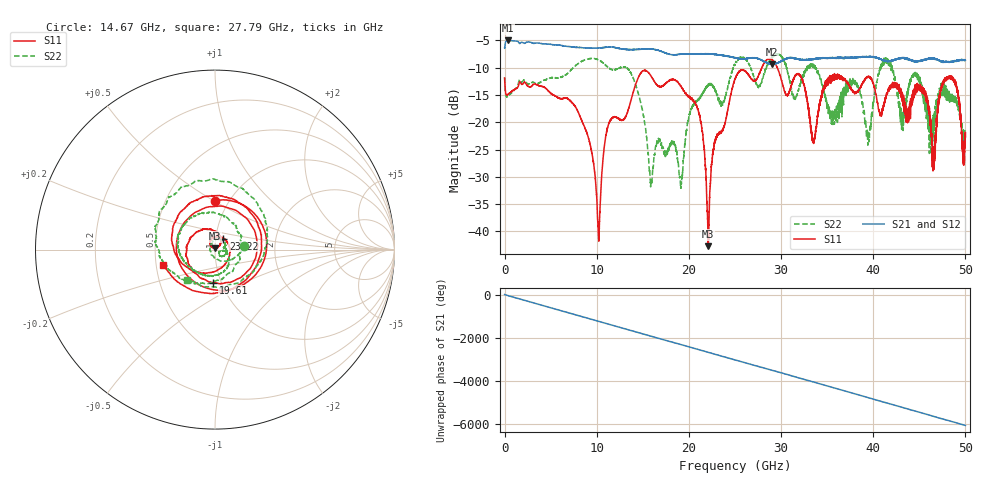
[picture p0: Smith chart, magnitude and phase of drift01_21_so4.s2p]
!Created with skrf (http://scikit-rf.org).
# Hz S RI R 50.0
!freq ReS11 ImS11 ReS21 ImS21 ReS12 ImS12 ReS22 ImS22
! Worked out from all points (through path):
!   10001 points, 300 kHz to 50 GHz, reference 50 ohm
!   highest |S21| = -5.05 dB at 360.3 MHz (marker M1); lowest = -9.4 dB at 29.02 GHz (marker M2)
!   group delay of S21, straight-line fit = 336 ps
!   lowest |S11| = -42.7 dB at 22.09 GHz (marker M3), VSWR 1.01, Z = 50 + j0.732 ohm
!   |S11| at or under -10 dB: start of sweep to 27.92 GHz; 29.59 GHz to end of sweep
!   |S22| runs from -32.1 to -7.5 dB; largest |S21 - S12| = 0.013
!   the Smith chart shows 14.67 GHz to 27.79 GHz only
!   S11 on the Smith chart (normalised r, x): 14.67 GHz: 0.86, +0.50; 19.61 GHz: 0.91, -0.35; 23.22 GHz: 1.09, +0.14; 27.79 GHz: 0.55, -0.10
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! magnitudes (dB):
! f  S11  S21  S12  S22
! 300 kHz  -11.9  -6.4  -6.5  -11.8
! 360.3 MHz  -14.9  -5.1  -5.1  -15.2
! 8.335 GHz  -19.6  -6.4  -6.4  -8.9
! 10.2 GHz  -41.1  -6.4  -6.4  -8.6
! 11.23 GHz  -20.6  -6.3  -6.3  -10.0
! 14.67 GHz  -11.3  -6.7  -6.7  -15.7
! 15.87 GHz  -11.5  -6.6  -6.6  -31.2
! 16.67 GHz  -13.4  -6.9  -6.9  -23.2
! 19.61 GHz  -14.7  -7.5  -7.5  -23.3
! 21.23 GHz  -19.5  -7.5  -7.5  -15.7
! 22.09 GHz  -42.7  -7.5  -7.5  -13.2
! 23.22 GHz  -22.2  -7.7  -7.7  -15.8
! 25 GHz  -12.1  -8.2  -8.3  -9.5
! 27.79 GHz  -10.5  -8.6  -8.6  -12.8
! 29.02 GHz  -8.6  -9.4  -9.4  -8.2
! 33.34 GHz  -22.6  -8.5  -8.5  -9.7
! 39.47 GHz  -11.7  -8.0  -8.0  -22.3
! 41.67 GHz  -13.9  -8.8  -8.8  -8.9
! 45.36 GHz  -13.9  -8.7  -8.6  -13.9
! 46.56 GHz  -24.6  -8.3  -8.3  -20.3
! 48.52 GHz  -11.9  -9.0  -8.9  -15.2
! 50 GHz  -22.6  -8.7  -8.7  -22.9
